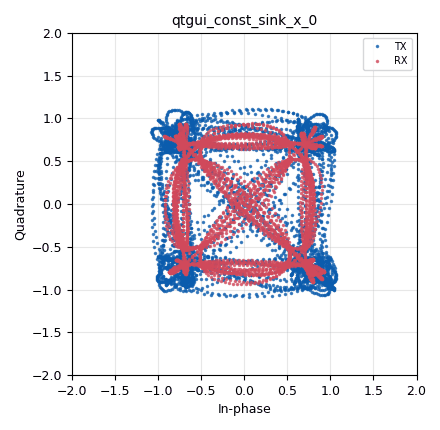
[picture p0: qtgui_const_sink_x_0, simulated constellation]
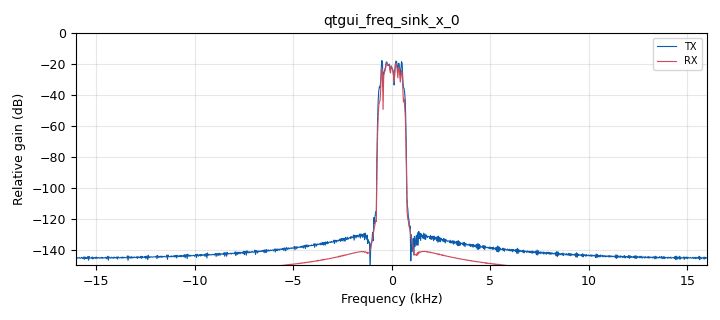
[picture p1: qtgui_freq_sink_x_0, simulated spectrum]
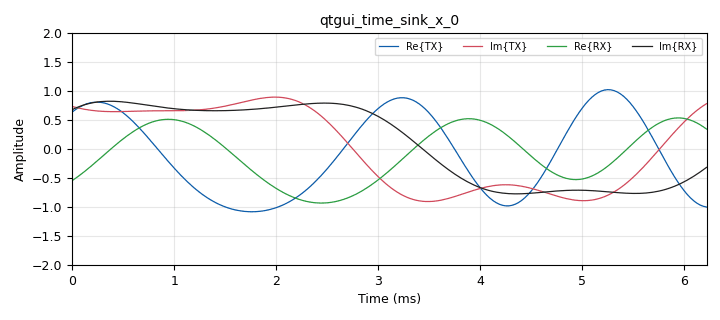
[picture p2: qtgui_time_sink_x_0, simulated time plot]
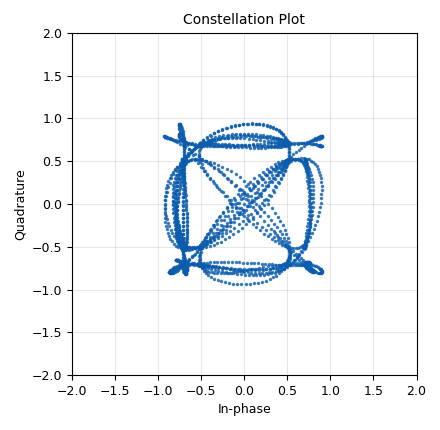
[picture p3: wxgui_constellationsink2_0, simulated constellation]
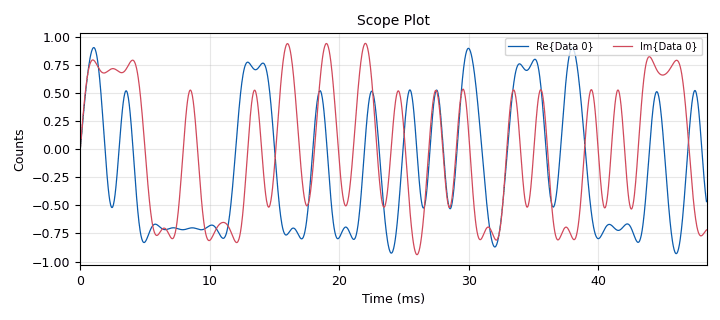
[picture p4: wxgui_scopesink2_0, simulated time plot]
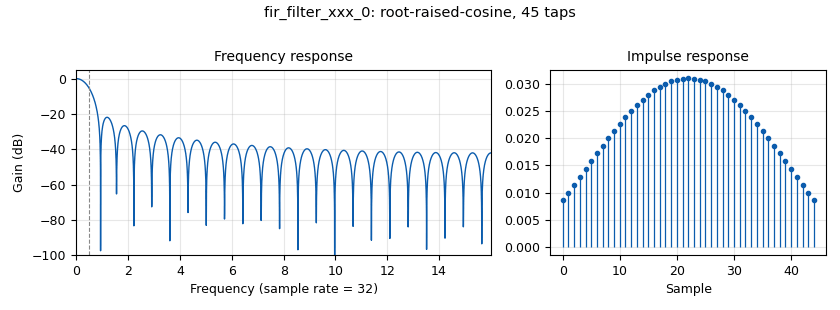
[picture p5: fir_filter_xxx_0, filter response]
<?xml version='1.0' encoding='utf-8'?>
<?grc format='1' created='3.7.13'?>
<flow_graph>
<block>
<key>options</key>
<param><key>id</key><value>mpsk_stage1</value></param>
<param><key>category</key><value>Custom</value></param>
<param><key>generate_options</key><value>wx_gui</value></param>
</block>
<block>
<key>variable</key>
<param><key>id</key><value>arity</value></param>
<param><key>value</key><value>4</value></param>
</block>
<block>
<key>variable</key>
<param><key>id</key><value>excess_bw</value></param>
<param><key>value</key><value>0.35</value></param>
</block>
<block>
<key>variable_constellation_rect</key>
<param><key>id</key><value>qpsk</value></param>
<param><key>const_points</key><value>[0.707+0.707j, -0.707+0.707j, -0.707-0.707j, 0.707-0.707j]</value></param>
<param><key>imag_sect</key><value>2</value></param>
<param><key>real_sect</key><value>2</value></param>
<param><key>rot_sym</key><value>4</value></param>
<param><key>sym_map</key><value>[0, 1, 2, 3]</value></param>
<param><key>w_imag_sect</key><value>1</value></param>
<param><key>w_real_sect</key><value>1</value></param>
</block>
<block>
<key>variable</key>
<param><key>id</key><value>rrc_taps</value></param>
<param><key>value</key><value>firdes.root_raised_cosine(1, sps, 1, excess_bw, 45)</value></param>
</block>
<block>
<key>variable</key>
<param><key>id</key><value>samp_rate</value></param>
<param><key>value</key><value>32000</value></param>
</block>
<block>
<key>variable</key>
<param><key>id</key><value>sps</value></param>
<param><key>value</key><value>32</value></param>
</block>
<block>
<key>analog_random_source_x</key>
<param><key>id</key><value>analog_random_source_x_0</value></param>
<param><key>max</key><value>256</value></param>
<param><key>min</key><value>0</value></param>
<param><key>num_samps</key><value>10000</value></param>
<param><key>type</key><value>byte</value></param>
<param><key>repeat</key><value>True</value></param>
</block>
<block>
<key>blocks_throttle</key>
<param><key>id</key><value>blocks_throttle_0</value></param>
<param><key>samples_per_second</key><value>samp_rate</value></param>
<param><key>type</key><value>complex</value></param>
</block>
<block>
<key>digital_constellation_modulator</key>
<param><key>id</key><value>digital_constellation_modulator_0</value></param>
<param><key>constellation</key><value>qpsk</value></param>
<param><key>differential</key><value>True</value></param>
<param><key>excess_bw</key><value>excess_bw</value></param>
<param><key>samples_per_symbol</key><value>sps</value></param>
</block>
<block>
<key>fir_filter_xxx</key>
<param><key>id</key><value>fir_filter_xxx_0</value></param>
<param><key>decim</key><value>1</value></param>
<param><key>taps</key><value>rrc_taps</value></param>
<param><key>type</key><value>ccc</value></param>
</block>
<block>
<key>qtgui_const_sink_x</key>
<param><key>id</key><value>qtgui_const_sink_x_0</value></param>
<param><key>alpha1</key><value>0.75</value></param>
<param><key>alpha2</key><value>0.5</value></param>
<param><key>gui_hint</key><value>0,1,1,1</value></param>
<param><key>label1</key><value>TX</value></param>
<param><key>label2</key><value>RX</value></param>
<param><key>name</key><value></value></param>
<param><key>nconnections</key><value>2</value></param>
<param><key>size</key><value>1024*4</value></param>
<param><key>type</key><value>complex</value></param>
</block>
<block>
<key>qtgui_freq_sink_x</key>
<param><key>id</key><value>qtgui_freq_sink_x_0</value></param>
<param><key>alpha1</key><value>0.6</value></param>
<param><key>alpha2</key><value>0.6</value></param>
<param><key>bw</key><value>samp_rate</value></param>
<param><key>fc</key><value>0</value></param>
<param><key>fftsize</key><value>1024</value></param>
<param><key>gui_hint</key><value>1,0,1,2</value></param>
<param><key>label1</key><value>TX</value></param>
<param><key>label2</key><value>RX</value></param>
<param><key>name</key><value></value></param>
<param><key>nconnections</key><value>2</value></param>
<param><key>showports</key><value>True</value></param>
<param><key>type</key><value>complex</value></param>
<param><key>width1</key><value>2</value></param>
<param><key>width2</key><value>2</value></param>
<param><key>wintype</key><value>firdes.WIN_BLACKMAN_hARRIS</value></param>
<param><key>ymax</key><value>0</value></param>
<param><key>ymin</key><value>-150</value></param>
</block>
<block>
<key>qtgui_time_sink_x</key>
<param><key>id</key><value>qtgui_time_sink_x_0</value></param>
<param><key>alpha1</key><value>0.5</value></param>
<param><key>alpha2</key><value>0.5</value></param>
<param><key>alpha3</key><value>0.5</value></param>
<param><key>alpha4</key><value>0.5</value></param>
<param><key>color1</key><value>"blue"</value></param>
<param><key>color2</key><value>"red"</value></param>
<param><key>color3</key><value>"cyan"</value></param>
<param><key>color4</key><value>"magenta"</value></param>
<param><key>gui_hint</key><value>0,0,1,1</value></param>
<param><key>label1</key><value>Re{TX}</value></param>
<param><key>label2</key><value>Im{TX}</value></param>
<param><key>label3</key><value>Re{RX}</value></param>
<param><key>label4</key><value>Im{RX}</value></param>
<param><key>name</key><value></value></param>
<param><key>nconnections</key><value>2</value></param>
<param><key>size</key><value>200</value></param>
<param><key>srate</key><value>samp_rate</value></param>
<param><key>type</key><value>complex</value></param>
<param><key>ymax</key><value>2</value></param>
<param><key>ymin</key><value>-2</value></param>
</block>
<block>
<key>wxgui_constellationsink2</key>
<param><key>id</key><value>wxgui_constellationsink2_0</value></param>
<param><key>const_size</key><value>2048</value></param>
<param><key>frame_rate</key><value>5</value></param>
<param><key>gain_mu</key><value>0.005</value></param>
<param><key>loop_bw</key><value>6.28/100.0</value></param>
<param><key>M</key><value>4</value></param>
<param><key>fmax</key><value>0.06</value></param>
<param><key>mu</key><value>0.5</value></param>
<param><key>omega_limit</key><value>0.005</value></param>
<param><key>samp_rate</key><value>samp_rate</value></param>
<param><key>symbol_rate</key><value>samp_rate/4.</value></param>
<param><key>theta</key><value>0</value></param>
<param><key>title</key><value>Constellation Plot</value></param>
</block>
<block>
<key>wxgui_scopesink2</key>
<param><key>id</key><value>wxgui_scopesink2_0</value></param>
<param><key>ac_couple</key><value>False</value></param>
<param><key>num_inputs</key><value>1</value></param>
<param><key>samp_rate</key><value>samp_rate</value></param>
<param><key>t_scale</key><value>0</value></param>
<param><key>title</key><value>Scope Plot</value></param>
<param><key>trig_mode</key><value>wxgui.TRIG_MODE_AUTO</value></param>
<param><key>type</key><value>complex</value></param>
<param><key>v_offset</key><value>0</value></param>
<param><key>v_scale</key><value>0</value></param>
<param><key>xy_mode</key><value>False</value></param>
<param><key>y_axis_label</key><value>Counts</value></param>
</block>
<connection><source_block_id>analog_random_source_x_0</source_block_id><sink_block_id>digital_constellation_modulator_0</sink_block_id><source_key>0</source_key><sink_key>0</sink_key></connection>
<connection><source_block_id>blocks_throttle_0</source_block_id><sink_block_id>fir_filter_xxx_0</sink_block_id><source_key>0</source_key><sink_key>0</sink_key></connection>
<connection><source_block_id>blocks_throttle_0</source_block_id><sink_block_id>qtgui_const_sink_x_0</sink_block_id><source_key>0</source_key><sink_key>0</sink_key></connection>
<connection><source_block_id>blocks_throttle_0</source_block_id><sink_block_id>qtgui_freq_sink_x_0</sink_block_id><source_key>0</source_key><sink_key>0</sink_key></connection>
<connection><source_block_id>blocks_throttle_0</source_block_id><sink_block_id>qtgui_time_sink_x_0</sink_block_id><source_key>0</source_key><sink_key>0</sink_key></connection>
<connection><source_block_id>digital_constellation_modulator_0</source_block_id><sink_block_id>blocks_throttle_0</sink_block_id><source_key>0</source_key><sink_key>0</sink_key></connection>
<connection><source_block_id>fir_filter_xxx_0</source_block_id><sink_block_id>qtgui_const_sink_x_0</sink_block_id><source_key>0</source_key><sink_key>1</sink_key></connection>
<connection><source_block_id>fir_filter_xxx_0</source_block_id><sink_block_id>qtgui_freq_sink_x_0</sink_block_id><source_key>0</source_key><sink_key>1</sink_key></connection>
<connection><source_block_id>fir_filter_xxx_0</source_block_id><sink_block_id>qtgui_time_sink_x_0</sink_block_id><source_key>0</source_key><sink_key>1</sink_key></connection>
<connection><source_block_id>fir_filter_xxx_0</source_block_id><sink_block_id>wxgui_constellationsink2_0</sink_block_id><source_key>0</source_key><sink_key>0</sink_key></connection>
<connection><source_block_id>fir_filter_xxx_0</source_block_id><sink_block_id>wxgui_scopesink2_0</sink_block_id><source_key>0</source_key><sink_key>0</sink_key></connection>
</flow_graph>
